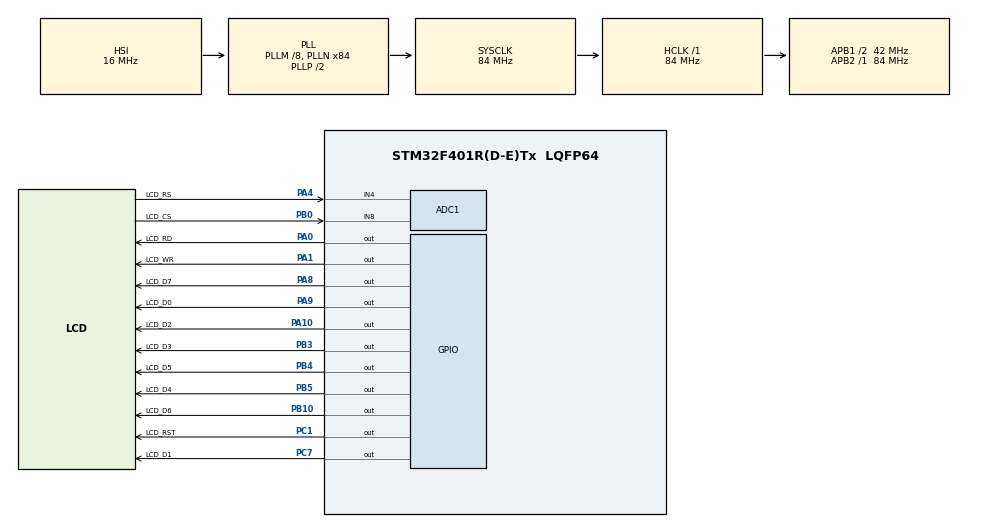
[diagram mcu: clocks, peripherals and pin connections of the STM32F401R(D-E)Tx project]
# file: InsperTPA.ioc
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ADC1.Channel-0\#ChannelRegularConversion=ADC_CHANNEL_4
ADC1.Channel-1\#ChannelRegularConversion=ADC_CHANNEL_8
ADC1.NbrOfConversion=2
ADC1.NbrOfConversionFlag=1
ADC1.Rank-0\#ChannelRegularConversion=1
ADC1.Rank-1\#ChannelRegularConversion=2
ADC1.SamplingTime-0\#ChannelRegularConversion=ADC_SAMPLETIME_28CYCLES
ADC1.SamplingTime-1\#ChannelRegularConversion=ADC_SAMPLETIME_28CYCLES
ADC1.master=1
Mcu.Family=STM32F4
Mcu.Name=STM32F401R(D-E)Tx
Mcu.Package=LQFP64
NVIC.PriorityGroup=NVIC_PRIORITYGROUP_4
PA0-WKUP.GPIO_Label=LCD_RD
PA0-WKUP.GPIO_PuPd=GPIO_PULLDOWN
PA0-WKUP.GPIO_Speed=GPIO_SPEED_FREQ_VERY_HIGH
PA0-WKUP.PinState=GPIO_PIN_SET
PA0-WKUP.Signal=GPIO_Output
PA1.GPIO_Label=LCD_WR
PA1.GPIO_PuPd=GPIO_PULLDOWN
PA1.GPIO_Speed=GPIO_SPEED_FREQ_VERY_HIGH
PA1.PinState=GPIO_PIN_SET
PA1.Signal=GPIO_Output
PA10.GPIO_Label=LCD_D2
PA10.GPIO_PuPd=GPIO_PULLDOWN
PA10.GPIO_Speed=GPIO_SPEED_FREQ_VERY_HIGH
PA10.Signal=GPIO_Output
PA4.GPIO_Label=LCD_RS
PA4.GPIO_PuPd=GPIO_PULLDOWN
PA4.GPIO_Speed=GPIO_SPEED_FREQ_VERY_HIGH
PA4.PinState=GPIO_PIN_SET
PA4.Signal=SharedStack_PA4
PA4.Stacked=true
PA8.GPIO_Label=LCD_D7
PA8.GPIO_PuPd=GPIO_PULLDOWN
PA8.GPIO_Speed=GPIO_SPEED_FREQ_VERY_HIGH
PA8.Signal=GPIO_Output
PA9.GPIO_Label=LCD_D0
PA9.GPIO_PuPd=GPIO_PULLDOWN
PA9.GPIO_Speed=GPIO_SPEED_FREQ_VERY_HIGH
PA9.Signal=GPIO_Output
PB0.GPIO_Label=LCD_CS
PB0.GPIO_PuPd=GPIO_PULLDOWN
PB0.GPIO_Speed=GPIO_SPEED_FREQ_VERY_HIGH
PB0.PinState=GPIO_PIN_SET
PB0.Signal=SharedStack_PB0
PB0.Stacked=true
PB10.GPIO_Label=LCD_D6
PB10.GPIO_PuPd=GPIO_PULLDOWN
PB10.GPIO_Speed=GPIO_SPEED_FREQ_VERY_HIGH
PB10.Signal=GPIO_Output
PB3.GPIO_Label=LCD_D3
PB3.GPIO_PuPd=GPIO_PULLDOWN
PB3.GPIO_Speed=GPIO_SPEED_FREQ_VERY_HIGH
PB3.Signal=GPIO_Output
PB4.GPIO_Label=LCD_D5
PB4.GPIO_PuPd=GPIO_PULLDOWN
PB4.GPIO_Speed=GPIO_SPEED_FREQ_VERY_HIGH
PB4.Signal=GPIO_Output
PB5.GPIO_Label=LCD_D4
PB5.GPIO_PuPd=GPIO_PULLDOWN
PB5.GPIO_Speed=GPIO_SPEED_FREQ_VERY_HIGH
PB5.Signal=GPIO_Output
PC1.GPIO_Label=LCD_RST
PC1.GPIO_ModeDefaultOutputPP=GPIO_MODE_OUTPUT_PP
PC1.GPIO_PuPd=GPIO_PULLUP
PC1.GPIO_Speed=GPIO_SPEED_FREQ_VERY_HIGH
PC1.PinState=GPIO_PIN_SET
PC1.Signal=GPIO_Output
PC7.GPIO_Label=LCD_D1
PC7.GPIO_PuPd=GPIO_PULLDOWN
PC7.GPIO_Speed=GPIO_SPEED_FREQ_VERY_HIGH
PC7.Signal=GPIO_Output
ProjectManager.HeapSize=0x200
ProjectManager.StackSize=0x400
ProjectManager.TargetToolchain=STM32CubeIDE
RCC.48MHZClocksFreq_Value=42000000
RCC.AHBFreq_Value=84000000
RCC.APB1CLKDivider=RCC_HCLK_DIV2
RCC.APB1Freq_Value=42000000
RCC.APB1TimFreq_Value=84000000
RCC.APB2Freq_Value=84000000
RCC.APB2TimFreq_Value=84000000
RCC.CortexFreq_Value=84000000
RCC.FLatency=FLASH_LATENCY_2
RCC.HCLKFreq_Value=84000000
RCC.HSE_VALUE=25000000
RCC.HSI_VALUE=16000000
RCC.LSE_VALUE=32768
RCC.PLLM=8
RCC.PLLN=84
RCC.SYSCLKFreq_VALUE=84000000
RCC.SYSCLKSource=RCC_SYSCLKSOURCE_PLLCLK
RCC.VCOOutputFreq_Value=168000000
SH.SharedStack_PA4.0=GPIO_Output+0
SH.SharedStack_PA4.1=ADC1_IN4,IN4
SH.SharedStack_PB0.0=GPIO_Output+0
SH.SharedStack_PB0.1=ADC1_IN8,IN8
STMicroelectronics.X-CUBE-TOUCHGFX.4.26.1.ApplicationCcGraphicsJjApplication=TouchGFXOoGenerator
STMicroelectronics.X-CUBE-TOUCHGFX.4.26.1.tgfx_block_size=19200
STMicroelectronics.X-CUBE-TOUCHGFX.4.26.1.tgfx_buffering_strategy=Partial
STMicroelectronics.X-CUBE-TOUCHGFX.4.26.1.tgfx_custom_height=320
STMicroelectronics.X-CUBE-TOUCHGFX.4.26.1.tgfx_custom_width=240
STMicroelectronics.X-CUBE-TOUCHGFX.4.26.1.tgfx_number_of_blocks=2
STMicroelectronics.X-CUBE-TOUCHGFX.4.26.1_IsPackSelfContextualization=true
VP_CRC_VS_CRC.Mode=CRC_Activate
VP_STMicroelectronics.X-CUBE-TOUCHGFX_VS_GraphicsJjApplication_4.26.1.Mode=GraphicsJjApplication
board=custom

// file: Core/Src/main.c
/* USER CODE BEGIN Header */
/**
  ******************************************************************************
  * @file           : main.c
  * @brief          : Main program body
  ******************************************************************************
  * @attention
  *
  * Copyright (c) 2026 STMicroelectronics.
  * All rights reserved.
  *
  * This software is licensed under terms that can be found in the LICENSE file
  * in the root directory of this software component.
  * If no LICENSE file comes with this software, it is provided AS-IS.
  *
  ******************************************************************************
  */
/* USER CODE END Header */
#include "main.h"
#include "app_touchgfx.h"

ADC_HandleTypeDef hadc1;

CRC_HandleTypeDef hcrc;

/* USER CODE BEGIN PV */
TS_State_t state;
uint8_t u8TouchTick = 0;
/* USER CODE END PV */

void SystemClock_Config(void);
static void MX_GPIO_Init(void);
static void MX_CRC_Init(void);
static void MX_ADC1_Init(void);
/* USER CODE BEGIN PFP */
void touchgfxSignalVSync(void);
/* USER CODE END PFP */

/* USER CODE BEGIN 0 */
static void GPIO_RestoreAfterTouch(void)
{
	GPIO_InitTypeDef GPIO_InitStruct = {0};

	  /*Configure GPIO pin Output Level */
	HAL_GPIO_WritePin(LCD_RS_GPIO_Port, LCD_RS_Pin, GPIO_PIN_SET);
	GPIO_InitStruct.Pin = LCD_RS_Pin;
    GPIO_InitStruct.Mode = GPIO_MODE_OUTPUT_PP;
    GPIO_InitStruct.Pull = GPIO_PULLDOWN;
    GPIO_InitStruct.Speed = GPIO_SPEED_FREQ_VERY_HIGH;
    HAL_GPIO_Init(LCD_RS_GPIO_Port, &GPIO_InitStruct);

    /*Configure GPIO pin Output Level */
    HAL_GPIO_WritePin(LCD_CS_GPIO_Port, LCD_CS_Pin, GPIO_PIN_SET);
    GPIO_InitStruct.Pin = LCD_CS_Pin;
    GPIO_InitStruct.Mode = GPIO_MODE_OUTPUT_PP;
    GPIO_InitStruct.Pull = GPIO_PULLDOWN;
    HAL_GPIO_Init(LCD_CS_GPIO_Port, &GPIO_InitStruct);

    /*Configure GPIO pin Output Level */
    HAL_GPIO_WritePin(LCD_D1_GPIO_Port, LCD_D1_Pin, GPIO_PIN_SET);
    GPIO_InitStruct.Pin = LCD_D1_Pin;
    GPIO_InitStruct.Mode = GPIO_MODE_OUTPUT_PP;
    GPIO_InitStruct.Pull = GPIO_PULLDOWN;
    GPIO_InitStruct.Speed = GPIO_SPEED_FREQ_VERY_HIGH;
    HAL_GPIO_Init(LCD_D1_GPIO_Port, &GPIO_InitStruct);

    /*Configure GPIO pin Output Level */
    HAL_GPIO_WritePin(LCD_D0_GPIO_Port, LCD_D0_Pin, GPIO_PIN_SET);
    GPIO_InitStruct.Pin = LCD_D0_Pin;
    GPIO_InitStruct.Mode = GPIO_MODE_OUTPUT_PP;
    GPIO_InitStruct.Pull = GPIO_PULLDOWN;
    HAL_GPIO_Init(LCD_D0_GPIO_Port, &GPIO_InitStruct);

}
static void GPIO_Output(GPIO_TypeDef *port, uint16_t pin, GPIO_PinState state)
{
    GPIO_InitTypeDef gpio = {0};

    gpio.Pin = pin;
    gpio.Mode = GPIO_MODE_OUTPUT_PP;
    gpio.Pull = GPIO_NOPULL;
    gpio.Speed = GPIO_SPEED_FREQ_VERY_HIGH;

    HAL_GPIO_Init(port, &gpio);

    HAL_GPIO_WritePin(port, pin, state);
}

static void GPIO_Analog(GPIO_TypeDef *port,uint16_t pin)
{
    GPIO_InitTypeDef gpio = {0};

    gpio.Pin = pin;
    gpio.Mode = GPIO_MODE_ANALOG;
    gpio.Pull = GPIO_NOPULL;

    HAL_GPIO_Init(port, &gpio);
}

static void GPIO_Input(GPIO_TypeDef *port,uint16_t pin)
{
    GPIO_InitTypeDef gpio = {0};

    gpio.Pin = pin;
    gpio.Mode = GPIO_MODE_INPUT;
    gpio.Pull = GPIO_PULLDOWN;

    HAL_GPIO_Init(port, &gpio);
}

static uint16_t ADC_Read(uint32_t channel)
{
    ADC_ChannelConfTypeDef sConfig = {0};

    sConfig.Channel = channel;
    sConfig.Rank = 1;
    sConfig.SamplingTime = ADC_SAMPLETIME_28CYCLES;

    HAL_ADC_ConfigChannel(&hadc1, &sConfig);

    HAL_ADC_Start(&hadc1);
    HAL_ADC_PollForConversion(&hadc1, 10);

    uint16_t value = HAL_ADC_GetValue(&hadc1);

    HAL_ADC_Stop(&hadc1);

    return value;
}

uint16_t TS_ReadPressure(void)
{
    GPIO_Output(TS_XP_PORT, TS_XP_PIN, GPIO_PIN_RESET);

    GPIO_Output(TS_YM_PORT, TS_YM_PIN, GPIO_PIN_SET);

    GPIO_Input(TS_XM_PORT, TS_XM_PIN);
    GPIO_Input(TS_YP_PORT, TS_YP_PIN);

    for(volatile uint32_t i = 0; i < 500; i++);

    uint16_t z1 = ADC_Read(TS_ADC_XM_CH);
    uint16_t z2 = ADC_Read(TS_ADC_YP_CH);

    return (4095U - (z2 - z1));
}

uint8_t TS_IsTouched(void)
{
    uint16_t z = TS_ReadPressure();

    return ((z > MINPRESSURE) &&
            (z < MAXPRESSURE));
}

uint16_t TS_ReadX(void)
{
    GPIO_Input(TS_YP_PORT, TS_YP_PIN);
    GPIO_Input(TS_YM_PORT, TS_YM_PIN);

    GPIO_Output(TS_XP_PORT, TS_XP_PIN, GPIO_PIN_SET);
    GPIO_Output(TS_XM_PORT, TS_XM_PIN, GPIO_PIN_RESET);

    for(volatile uint32_t i = 0; i < 500; i++);

    GPIO_Analog(TS_YP_PORT,TS_YP_PIN);
    return (4095U - ADC_Read(TS_ADC_YP_CH));
}

uint16_t TS_ReadY(void)
{
    GPIO_Input(TS_XP_PORT, TS_XP_PIN);
    GPIO_Input(TS_XM_PORT, TS_XM_PIN);

    GPIO_Output(TS_YP_PORT, TS_YP_PIN, GPIO_PIN_SET);
    GPIO_Output(TS_YM_PORT, TS_YM_PIN, GPIO_PIN_RESET);

    for(volatile uint32_t i = 0; i < 500; i++);
    GPIO_Analog(TS_XM_PORT,TS_XM_PIN);
    return (4095U - ADC_Read(TS_ADC_XM_CH));
}

static uint16_t TS_ReadX_Avg(void)
{
    uint32_t sum = 0;

    for(int i = 0; i < 4; i++)
    {
        sum += TS_ReadX();
    }
    return sum / 4;
}

static uint16_t TS_ReadY_Avg(void)
{
    uint32_t sum = 0;

    for(int i = 0; i < 4; i++)
    {
        sum += TS_ReadY();
    }

    return sum / 4;
}
static int32_t map_value(
    int32_t x,
    int32_t in_min,
    int32_t in_max,
    int32_t out_min,
    int32_t out_max)
{
    return (x - in_min) *
           (out_max - out_min) /
           (in_max - in_min)
           + out_min;
}
uint8_t TS_GetState(TS_State_t *state)
{
	uint16_t z1, z2, z;

	/* ------------------ READ X ------------------ */

	GPIO_Input(TS_YP_PORT, TS_YP_PIN);
	GPIO_Input(TS_YM_PORT, TS_YM_PIN);

	GPIO_Output(TS_XP_PORT, TS_XP_PIN, GPIO_PIN_SET);
	GPIO_Output(TS_XM_PORT, TS_XM_PIN, GPIO_PIN_RESET);

	GPIO_Analog(TS_YP_PORT, TS_YP_PIN);

	state->x_raw = TS_ReadX_Avg();

	/* ------------------ READ Y ------------------ */

	GPIO_Input(TS_XP_PORT, TS_XP_PIN);
	GPIO_Input(TS_XM_PORT, TS_XM_PIN);

	GPIO_Output(TS_YP_PORT, TS_YP_PIN, GPIO_PIN_SET);
	GPIO_Output(TS_YM_PORT, TS_YM_PIN, GPIO_PIN_RESET);

	GPIO_Analog(TS_XM_PORT, TS_XM_PIN);

	state->y_raw = TS_ReadY_Avg();

	/* ------------------ READ PRESSURE ------------------ */

	GPIO_Output(TS_XP_PORT, TS_XP_PIN, GPIO_PIN_RESET);

	GPIO_Output(TS_YM_PORT, TS_YM_PIN, GPIO_PIN_SET);

	GPIO_Input(TS_XM_PORT, TS_XM_PIN);
	GPIO_Input(TS_YP_PORT, TS_YP_PIN);

	GPIO_Analog(TS_XM_PORT, TS_XM_PIN);
	GPIO_Analog(TS_YP_PORT, TS_YP_PIN);

	z1 = ADC_Read(TS_ADC_XM_CH);
	z2 = ADC_Read(TS_ADC_YP_CH);

	z = 4095U - (z2 - z1);

	state->touched = ((z > MINPRESSURE) && (z < MAXPRESSURE));

	GPIO_RestoreAfterTouch();
	if (state->touched)
	{
		state->x = map_value(
				state->x_raw,
				TS_X_MIN,
				TS_X_MAX,
				0,
				LCD_WIDTH - 1);

		state->y = map_value(
				state->y_raw,
				TS_Y_MIN,
				TS_Y_MAX,
				0,
				LCD_HEIGHT - 1);

		/* clip to display bounds */
		if (state->x < 0)
			state->x = 0;
		else if (state->x >= LCD_WIDTH)
			state->x = LCD_WIDTH - 1;

		if (state->y < 0)
			state->y = 0;
		else if (state->y >= LCD_HEIGHT)
			state->y = LCD_HEIGHT - 1;
	}
	else
	{
		state->x = 0;
		state->y = 0;
	}
	return state->touched;
}

/* USER CODE END 0 */

int main(void)
{

  /* MCU Configuration--------------------------------------------------------*/

  /* Reset of all peripherals, Initializes the Flash interface and the Systick. */
  HAL_Init();

  /* Configure the system clock */
  SystemClock_Config();

  /* Initialize all configured peripherals */
  MX_GPIO_Init();
  MX_CRC_Init();
  MX_ADC1_Init();
  MX_TouchGFX_Init();

  /* Infinite loop */
  while (1)
  {

	  MX_TouchGFX_Process();
	  /* USER CODE BEGIN 3 */
	  touchgfxSignalVSync();
	  if(u8TouchTick > 10)
	  {
		  u8TouchTick = 0;
		  TS_GetState(&state);
	  }
  }
  /* USER CODE END 3 */
}

void SystemClock_Config(void)
{
  RCC_OscInitTypeDef RCC_OscInitStruct = {0};
  RCC_ClkInitTypeDef RCC_ClkInitStruct = {0};

  /** Configure the main internal regulator output voltage
  */
  __HAL_RCC_PWR_CLK_ENABLE();
  __HAL_PWR_VOLTAGESCALING_CONFIG(PWR_REGULATOR_VOLTAGE_SCALE2);

  /** Initializes the RCC Oscillators according to the specified parameters
  * in the RCC_OscInitTypeDef structure.
  */
  RCC_OscInitStruct.OscillatorType = RCC_OSCILLATORTYPE_HSI;
  RCC_OscInitStruct.HSIState = RCC_HSI_ON;
  RCC_OscInitStruct.HSICalibrationValue = RCC_HSICALIBRATION_DEFAULT;
  RCC_OscInitStruct.PLL.PLLState = RCC_PLL_ON;
  RCC_OscInitStruct.PLL.PLLSource = RCC_PLLSOURCE_HSI;
  RCC_OscInitStruct.PLL.PLLM = 8;
  RCC_OscInitStruct.PLL.PLLN = 84;
  RCC_OscInitStruct.PLL.PLLP = RCC_PLLP_DIV2;
  RCC_OscInitStruct.PLL.PLLQ = 4;
  if (HAL_RCC_OscConfig(&RCC_OscInitStruct) != HAL_OK)
  {
    Error_Handler();
  }

  /** Initializes the CPU, AHB and APB buses clocks
  */
  RCC_ClkInitStruct.ClockType = RCC_CLOCKTYPE_HCLK|RCC_CLOCKTYPE_SYSCLK
                              |RCC_CLOCKTYPE_PCLK1|RCC_CLOCKTYPE_PCLK2;
  RCC_ClkInitStruct.SYSCLKSource = RCC_SYSCLKSOURCE_PLLCLK;
  RCC_ClkInitStruct.AHBCLKDivider = RCC_SYSCLK_DIV1;
  RCC_ClkInitStruct.APB1CLKDivider = RCC_HCLK_DIV2;
  RCC_ClkInitStruct.APB2CLKDivider = RCC_HCLK_DIV1;

  if (HAL_RCC_ClockConfig(&RCC_ClkInitStruct, FLASH_LATENCY_2) != HAL_OK)
  {
    Error_Handler();
  }
}

static void MX_ADC1_Init(void)
{

  ADC_ChannelConfTypeDef sConfig = {0};

  /** Configure the global features of the ADC (Clock, Resolution, Data Alignment and number of conversion)
  */
  hadc1.Instance = ADC1;
  hadc1.Init.ClockPrescaler = ADC_CLOCK_SYNC_PCLK_DIV4;
  hadc1.Init.Resolution = ADC_RESOLUTION_12B;
  hadc1.Init.ScanConvMode = DISABLE;
  hadc1.Init.ContinuousConvMode = DISABLE;
  hadc1.Init.DiscontinuousConvMode = DISABLE;
  hadc1.Init.ExternalTrigConvEdge = ADC_EXTERNALTRIGCONVEDGE_NONE;
  hadc1.Init.ExternalTrigConv = ADC_SOFTWARE_START;
  hadc1.Init.DataAlign = ADC_DATAALIGN_RIGHT;
  hadc1.Init.NbrOfConversion = 1;
  hadc1.Init.DMAContinuousRequests = DISABLE;
  hadc1.Init.EOCSelection = ADC_EOC_SINGLE_CONV;
  if (HAL_ADC_Init(&hadc1) != HAL_OK)
  {
    Error_Handler();
  }

  /** Configure for the selected ADC regular channel its corresponding rank in the sequencer and its sample time.
  */
  sConfig.Channel = ADC_CHANNEL_4;
  sConfig.Rank = 1;
  sConfig.SamplingTime = ADC_SAMPLETIME_28CYCLES;
  if (HAL_ADC_ConfigChannel(&hadc1, &sConfig) != HAL_OK)
  {
    Error_Handler();
  }

}

static void MX_CRC_Init(void)
{

  hcrc.Instance = CRC;
  if (HAL_CRC_Init(&hcrc) != HAL_OK)
  {
    Error_Handler();
  }

}

static void MX_GPIO_Init(void)
{
  GPIO_InitTypeDef GPIO_InitStruct = {0};

  /* GPIO Ports Clock Enable */
  __HAL_RCC_GPIOC_CLK_ENABLE();
  __HAL_RCC_GPIOA_CLK_ENABLE();
  __HAL_RCC_GPIOB_CLK_ENABLE();

  /*Configure GPIO pin Output Level */
  HAL_GPIO_WritePin(LCD_RST_GPIO_Port, LCD_RST_Pin, GPIO_PIN_SET);

  /*Configure GPIO pin Output Level */
  HAL_GPIO_WritePin(GPIOA, LCD_RD_Pin|LCD_WR_Pin, GPIO_PIN_SET);

  /*Configure GPIO pin Output Level */
  HAL_GPIO_WritePin(GPIOB, LCD_D6_Pin|LCD_D3_Pin|LCD_D5_Pin|LCD_D4_Pin, GPIO_PIN_RESET);

  /*Configure GPIO pin Output Level */
  HAL_GPIO_WritePin(LCD_D1_GPIO_Port, LCD_D1_Pin, GPIO_PIN_RESET);

  /*Configure GPIO pin Output Level */
  HAL_GPIO_WritePin(GPIOA, LCD_D7_Pin|LCD_D0_Pin|LCD_D2_Pin, GPIO_PIN_RESET);

  /*Configure GPIO pin : LCD_RST_Pin */
  GPIO_InitStruct.Pin = LCD_RST_Pin;
  GPIO_InitStruct.Mode = GPIO_MODE_OUTPUT_PP;
  GPIO_InitStruct.Pull = GPIO_PULLUP;
  GPIO_InitStruct.Speed = GPIO_SPEED_FREQ_VERY_HIGH;
  HAL_GPIO_Init(LCD_RST_GPIO_Port, &GPIO_InitStruct);

  /*Configure GPIO pins : LCD_RD_Pin LCD_WR_Pin LCD_D7_Pin LCD_D0_Pin
                           LCD_D2_Pin */
  GPIO_InitStruct.Pin = LCD_RD_Pin|LCD_WR_Pin|LCD_D7_Pin|LCD_D0_Pin
                          |LCD_D2_Pin;
  GPIO_InitStruct.Mode = GPIO_MODE_OUTPUT_PP;
  GPIO_InitStruct.Pull = GPIO_PULLDOWN;
  GPIO_InitStruct.Speed = GPIO_SPEED_FREQ_VERY_HIGH;
  HAL_GPIO_Init(GPIOA, &GPIO_InitStruct);

  /*Configure GPIO pins : LCD_D6_Pin LCD_D3_Pin LCD_D5_Pin LCD_D4_Pin */
  GPIO_InitStruct.Pin = LCD_D6_Pin|LCD_D3_Pin|LCD_D5_Pin|LCD_D4_Pin;
  GPIO_InitStruct.Mode = GPIO_MODE_OUTPUT_PP;
  GPIO_InitStruct.Pull = GPIO_PULLDOWN;
  GPIO_InitStruct.Speed = GPIO_SPEED_FREQ_VERY_HIGH;
  HAL_GPIO_Init(GPIOB, &GPIO_InitStruct);

  /*Configure GPIO pin : LCD_D1_Pin */
  GPIO_InitStruct.Pin = LCD_D1_Pin;
  GPIO_InitStruct.Mode = GPIO_MODE_OUTPUT_PP;
  GPIO_InitStruct.Pull = GPIO_PULLDOWN;
  GPIO_InitStruct.Speed = GPIO_SPEED_FREQ_VERY_HIGH;
  HAL_GPIO_Init(LCD_D1_GPIO_Port, &GPIO_InitStruct);

}

void Error_Handler(void)
{
  __disable_irq();
  while (1)
  {
  }
}
